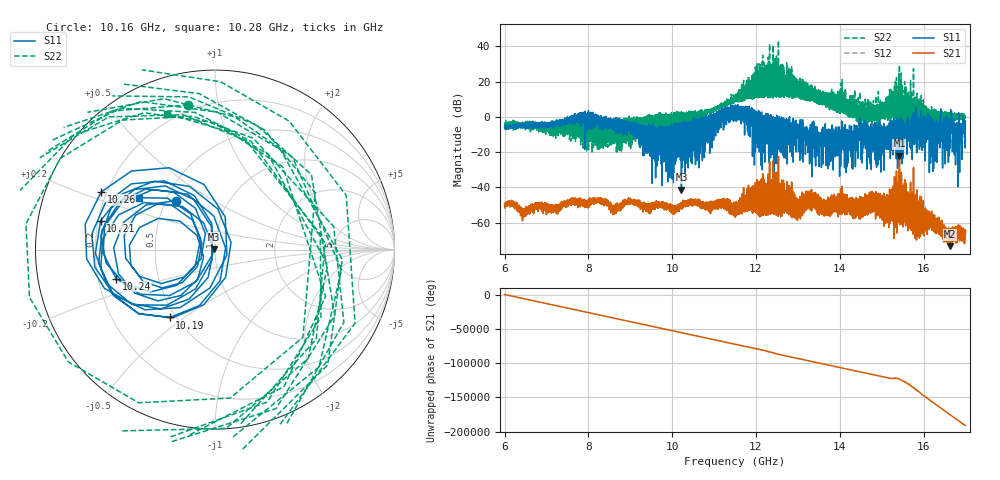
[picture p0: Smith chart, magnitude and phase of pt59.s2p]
#  HZ  S  RI  R  50.00
! Rohde & Schwarz Vector Network Analyzer
! Rohde-Schwarz,ZNA67-2Port,1332450062101215,3.01
! Created: UTC 10/16/2026, 10:48:12 AM
! freq[Hz]  re:S11  im:S11  re:S21  im:S21  re:S12  im:S12  re:S22  im:S22
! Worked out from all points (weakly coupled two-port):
!   11001 points, 6 GHz to 17 GHz, reference 50 ohm
!   highest |S21| = -22.04 dB at 15.43 GHz (marker M1); lowest = -73.4 dB at 16.63 GHz (marker M2)
!   lowest |S11| = -41.4 dB at 10.22 GHz (marker M3), VSWR 1.02, Z = 49.2 + j0.199 ohm
!   |S11| at or under -10 dB: 13.52834 GHz to 13.56776 GHz (39.42 MHz wide, 0.291 % of centre); 13.61084 GHz to 13.63699 GHz (26.15 MHz wide, 0.192 % of centre); 14.1465 GHz to 14.17297 GHz (26.47 MHz wide, 0.187 % of centre) (the widest 3 of 490)
!   |S22| runs from -20.6 to 43.4 dB; largest |S21 - S12| = 0.0067
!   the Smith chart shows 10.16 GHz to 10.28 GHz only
!   S11 on the Smith chart (normalised r, x): 10.16 GHz: 0.56, +0.35; 10.19 GHz: 0.46, -0.44; 10.21 GHz: 0.21, +0.12; 10.24 GHz: 0.28, -0.13; 10.26 GHz: 0.18, +0.23; 10.28 GHz: 0.35, +0.27
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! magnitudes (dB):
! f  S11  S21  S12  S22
! 6 GHz  -6.0  -50.1  -50.0  -5.0
! 6.474 GHz  -4.5  -54.8  -54.7  -5.5
! 7.834 GHz  -0.7  -47.1  -47.0  -3.8
! 9.667 GHz  -5.9  -49.3  -49.3  1.1
! 10.16 GHz  -9.1  -52.8  -52.7  -1.7
! 10.19 GHz  -6.8  -50.9  -50.9  2.3
! 10.21 GHz  -3.6  -51.3  -51.3  2.6
! 10.22 GHz  -41.4  -49.6  -49.8  -3.0
! 10.24 GHz  -4.8  -49.8  -49.8  1.8
! 10.26 GHz  -3.0  -51.6  -51.9  1.8
! 10.28 GHz  -5.8  -50.4  -50.7  -1.9
! 11.5 GHz  6.6  -53.8  -53.7  10.4
! 12.59 GHz  -3.5  -55.3  -55.1  11.7
! 12.98 GHz  -4.2  -55.5  -55.6  14.4
! 13.33 GHz  -7.7  -49.4  -49.2  11.0
! 14.55 GHz  -9.6  -48.8  -48.5  0.1
! 15.17 GHz  -13.1  -46.4  -46.5  6.7
! 15.43 GHz  -9.3  -22.0  -21.8  29.4
! 15.8 GHz  -3.7  -57.3  -56.9  1.2
! 16.63 GHz  -7.6  -73.4  -72.3  -2.5
! 16.78 GHz  -14.0  -64.9  -64.4  2.0
! 17 GHz  -2.2  -66.3  -66.1  1.1
